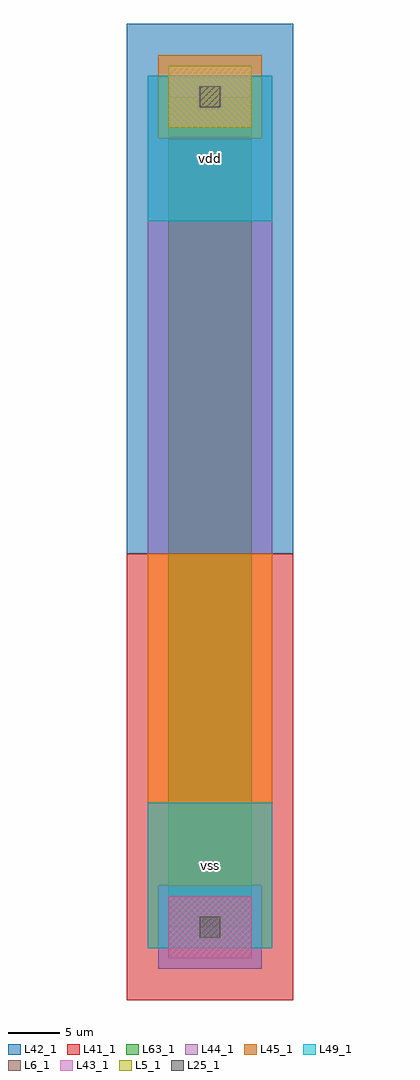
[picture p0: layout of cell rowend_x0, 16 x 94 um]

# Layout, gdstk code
import gdstk
lib = gdstk.Library(unit=1e-6, precision=1e-09)
def R(c, l, rs):  # rectangles x0, y0, x1, y1
    for r in rs: c.add(gdstk.rectangle(r[:2], r[2:], *l))
L5_1 = (5, 1)
L6_1 = (6, 1)
L25_1 = (25, 1)
L41_1 = (41, 1)
L42_1 = (42, 1)
L43_1 = (43, 1)
L44_1 = (44, 1)
L45_1 = (45, 1)
L49_1 = (49, 1)
L63_1 = (63, 1)

rowend_x0 = lib.new_cell('rowend_x0')
R(rowend_x0, L5_1, [(0,77,8,83)])
R(rowend_x0, L6_1, [(0,-3,8,3), (0,-3,8,3)])
R(rowend_x0, L25_1, [(3,-1,5,1), (3,79,5,81)])
R(rowend_x0, L41_1, [(-4,-7,12,36)])
R(rowend_x0, L42_1, [(-4,36,12,87)])
R(rowend_x0, L43_1, [(0,-3,8,3), (0,77,8,83)])
R(rowend_x0, L44_1, [(-1,-4,9,4), (-2,36,10,76), (-2,76,-1,82), (9,76,10,82)])
R(rowend_x0, L45_1, [(-2,-2,-1,4), (9,-2,10,4), (-2,4,10,36), (-1,76,9,84)])
R(rowend_x0, L49_1, [(-2,-2,10,12), (-2,68,10,82)])
R(rowend_x0, L63_1, [(0,0,8,80)])
rowend_x0.add(gdstk.Label('vss', (4,6), layer=49, texttype=1))
rowend_x0.add(gdstk.Label('vdd', (4,74), layer=49, texttype=1))

lib.write_gds('rowend_x0.gds')
